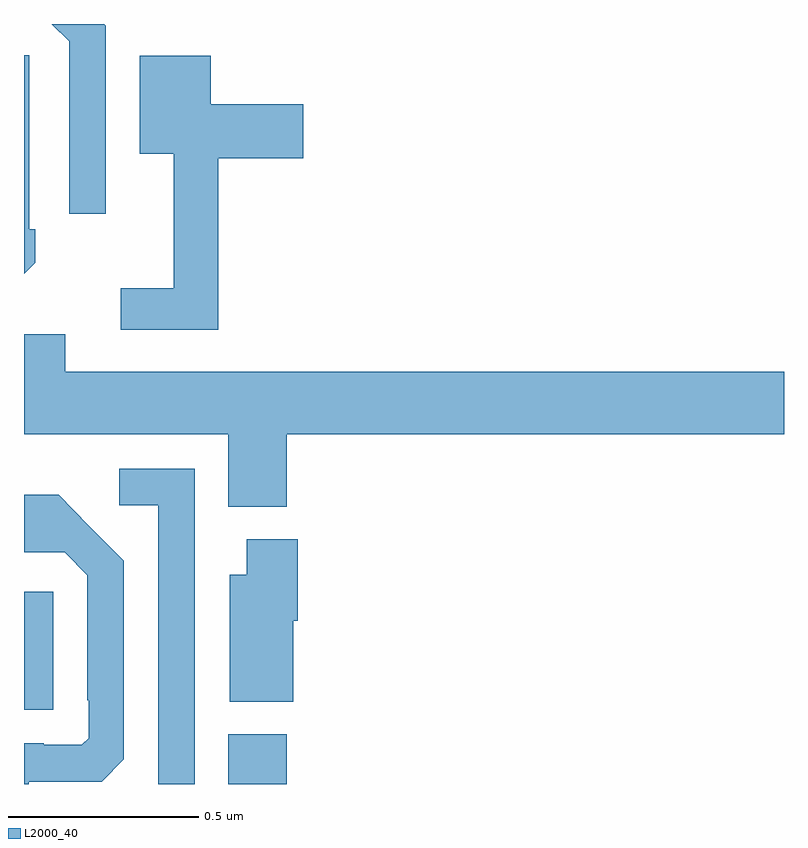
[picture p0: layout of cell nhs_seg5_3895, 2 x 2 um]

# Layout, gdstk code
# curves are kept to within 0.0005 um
import gdstk
lib = gdstk.Library(unit=1e-6, precision=1e-09)
def R(c, l, rs):  # rectangles x0, y0, x1, y1
    for r in rs: c.add(gdstk.rectangle(r[:2], r[2:], *l))
def P(c, l, *ps):  # polygons
    for p in ps: c.add(gdstk.Polygon(p, *l))
L2000_40 = (2000, 40)

nhs_seg5_3895 = lib.new_cell('nhs_seg5_3895')
R(nhs_seg5_3895, L2000_40, [(163.538,895.799,163.691,895.93), (163,895.995,163.077,896.305)])
P(nhs_seg5_3895, L2000_40, [(163.215,897.795),(163.211,897.799),(163.073,897.799),(163.119,897.753),(163.119,897.3),(163.215,897.3)],
  [(163.029,897.171),(163.029,897.259),(163.014,897.259),(163.014,897.717),(163,897.717),(163,897.142)],
  [(163.511,897.446),(163.735,897.446),(163.735,897.588),(163.492,897.588),(163.492,897.715),(163.304,897.715),(163.304,897.458),(163.394,897.458),(163.394,897.103),(163.254,897.103),(163.254,896.994),(163.511,896.994)],
  [(163.108,896.982),(163,896.982),(163,896.72),(163.538,896.72),(163.538,896.528),(163.691,896.528),(163.691,896.72),(165,896.72),(165,896.884),(163.108,896.884)],
  [(163.449,896.628),(163.251,896.628),(163.251,896.532),(163.353,896.532),(163.353,895.799),(163.449,895.799)],
  [(163.012,895.805),(163.204,895.805),(163.263,895.864),(163.263,896.386),(163.091,896.56),(163,896.56),(163,896.409),(163.107,896.409),(163.167,896.349),(163.167,896.02),(163.17,896.02),(163.17,895.92),(163.152,895.902),(163.052,895.902),(163.052,895.906),(163,895.906),(163,895.799),(163.012,895.799)],
  [(163.708,896.229),(163.721,896.229),(163.721,896.443),(163.586,896.443),(163.586,896.35),(163.541,896.35),(163.541,896.015),(163.708,896.015)])

lib.write_gds('nhs_seg5_3895.gds')
